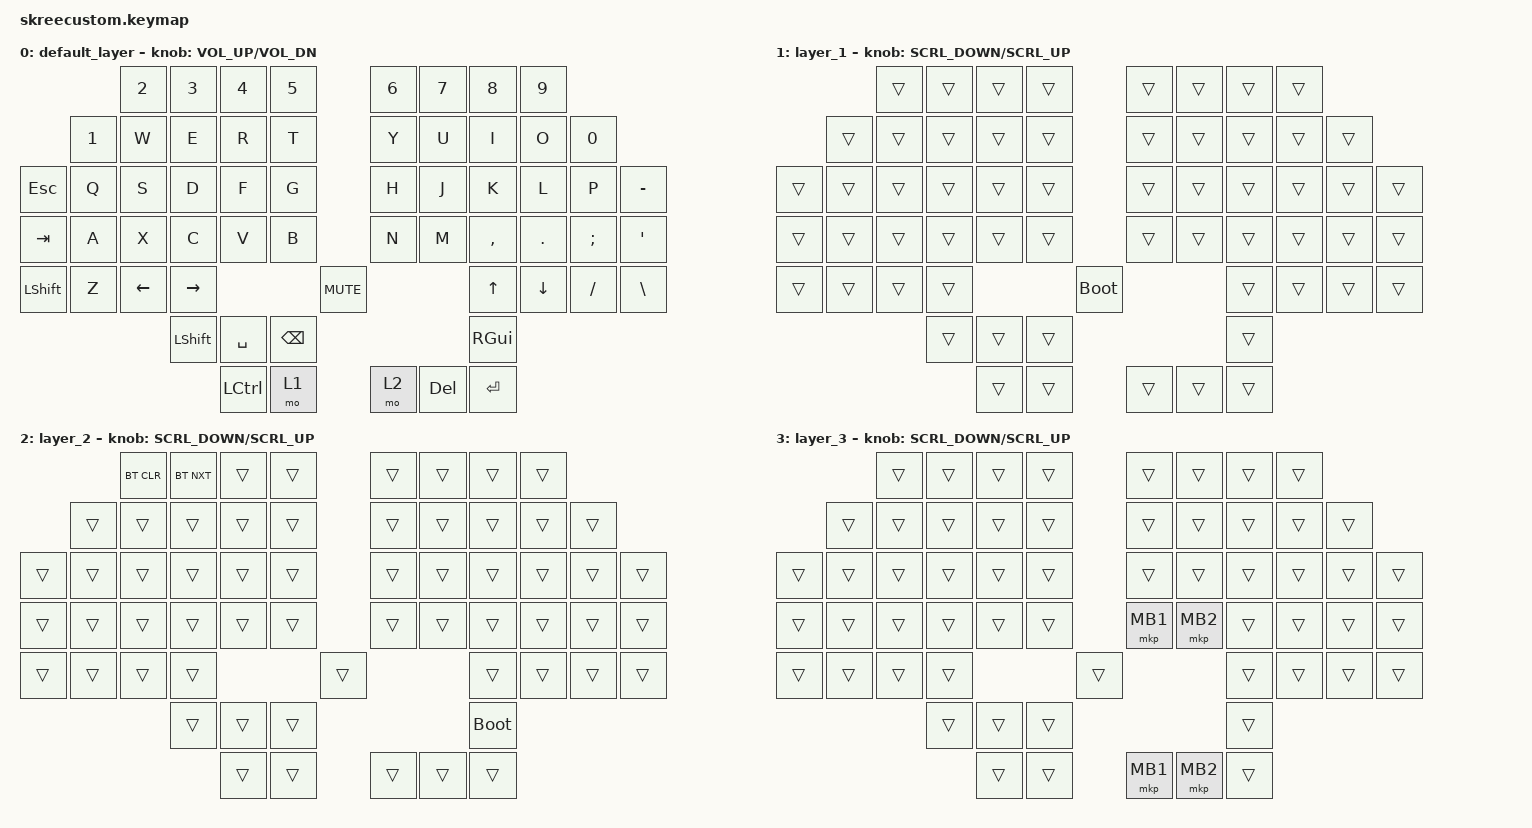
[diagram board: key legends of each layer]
/*
 * Copyright (c) 2020 The ZMK Contributors
 *
 * SPDX-License-Identifier: MIT
 */
//#include <behaviors/mouse_keys.dtsi>

#define ZMK_POINTING_DEFAULT_SCRL_VAL 140

#include <input/processors.dtsi>
#include <dt-bindings/zmk/input_transform.h>
#include <dt-bindings/zmk/mouse.h>
#include <behaviors.dtsi>
#include <dt-bindings/zmk/bt.h>
#include <dt-bindings/zmk/keys.h>
#include <dt-bindings/zmk/pointing.h>

/ {
    behaviors {
        mouse_scroll: sensor_scroll {
            compatible = "zmk,behavior-sensor-rotate-var";
            #sensor-binding-cells = <2>;
            bindings = <&msc>, <&msc>;

            tap-ms = <5>;
        };
    };

    keymap {
        compatible = "zmk,keymap";

        default_layer {
            bindings = <
                   &kp N2    &kp N3     &kp N4     &kp N5                  &kp N6  &kp N7   &kp N8     &kp N9
           &kp N1  &kp W     &kp E      &kp R      &kp T                   &kp Y   &kp U    &kp I      &kp O     &kp N0
&kp ESC    &kp Q   &kp S     &kp D      &kp F      &kp G                   &kp H   &kp J    &kp K      &kp L     &kp P     &kp MINUS
&kp TAB    &kp A   &kp X     &kp C      &kp V      &kp B                   &kp N   &kp M    &kp COMMA  &kp DOT   &kp SEMI  &kp SQT
&kp LSHFT  &kp Z   &kp LEFT  &kp RIGHT                       &kp C_MUTE                     &kp UP     &kp DOWN  &kp FSLH  &kp BSLH
                             &kp LSHFT  &kp SPACE  &kp BSPC                                 &kp RGUI
                                        &kp LCTRL  &mo 1                   &mo 2   &kp DEL  &kp RET
            >;

            sensor-bindings = <&inc_dec_kp C_VOL_UP C_VOL_DN>;
        };

        layer_1 {
            bindings = <
                &trans  &trans  &trans  &trans                 &trans  &trans  &trans  &trans
        &trans  &trans  &trans  &trans  &trans                 &trans  &trans  &trans  &trans  &trans
&trans  &trans  &trans  &trans  &trans  &trans                 &trans  &trans  &trans  &trans  &trans  &trans
&trans  &trans  &trans  &trans  &trans  &trans                 &trans  &trans  &trans  &trans  &trans  &trans
&trans  &trans  &trans  &trans                  &bootloader                    &trans  &trans  &trans  &trans
                        &trans  &trans  &trans                                 &trans
                                &trans  &trans                 &trans  &trans  &trans
            >;

            sensor-bindings = <&mouse_scroll SCRL_DOWN SCRL_UP>;
        };

        layer_2 {
            bindings = <
                &bt BT_CLR  &bt BT_NXT  &trans  &trans            &trans  &trans  &trans       &trans
        &trans  &trans      &trans      &trans  &trans            &trans  &trans  &trans       &trans  &trans
&trans  &trans  &trans      &trans      &trans  &trans            &trans  &trans  &trans       &trans  &trans  &trans
&trans  &trans  &trans      &trans      &trans  &trans            &trans  &trans  &trans       &trans  &trans  &trans
&trans  &trans  &trans      &trans                      &trans                    &trans       &trans  &trans  &trans
                            &trans      &trans  &trans                            &bootloader
                                        &trans  &trans            &trans  &trans  &trans
            >;

            sensor-bindings = <&mouse_scroll SCRL_DOWN SCRL_UP>;
        };

        layer_3 {
            bindings = <
                &trans  &trans  &trans  &trans            &trans    &trans    &trans  &trans
        &trans  &trans  &trans  &trans  &trans            &trans    &trans    &trans  &trans  &trans
&trans  &trans  &trans  &trans  &trans  &trans            &trans    &trans    &trans  &trans  &trans  &trans
&trans  &trans  &trans  &trans  &trans  &trans            &mkp MB1  &mkp MB2  &trans  &trans  &trans  &trans
&trans  &trans  &trans  &trans                  &trans                        &trans  &trans  &trans  &trans
                        &trans  &trans  &trans                                &trans
                                &trans  &trans            &mkp MB1  &mkp MB2  &trans
            >;

            sensor-bindings = <&mouse_scroll SCRL_DOWN SCRL_UP>;
        };
    };
};

// //right hand trackball overrides
// &trackball_peripheral_listener {
//     input-processors =
//         <&zip_xy_transform INPUT_TRANSFORM_XY_SWAP>,//this gets it to the default installation orientation
//         <&zip_temp_layer 3 500>;//activate layer 3 within 500ms of the trackball moving
// };
// //left hand trackball overrides
// &trackball_central_listener {
//     input-processors =
//         <&zip_xy_transform INPUT_TRANSFORM_XY_SWAP>,//this gets it to the default installation orientation
//         <&zip_xy_scaler 1 3>,//multiply sensitivity by 1, divide by 3 (make it slower for scrolling)
//         <&zip_xy_to_scroll_mapper>,//make this trackball output scrolling events by default instead of cursor movement
//         <&zip_scroll_transform INPUT_TRANSFORM_Y_INVERT>;//invert vertical scrolling so that the view moves in the same direction as the top of the trackball.
// };
